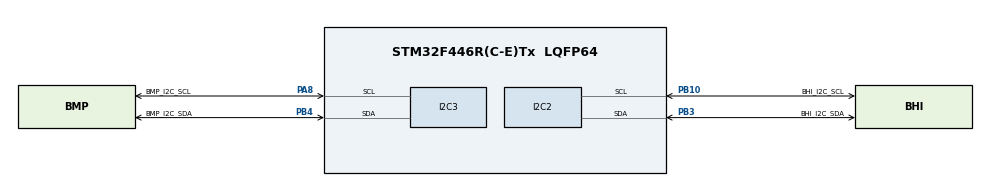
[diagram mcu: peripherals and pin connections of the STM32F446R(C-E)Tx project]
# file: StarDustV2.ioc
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FREERTOS.Tasks01=defaultTask,0,128,StartDefaultTask,Default,NULL,Dynamic,NULL,NULL;StateKontrol,-3,128,StateKontrolF,Default,NULL,Dynamic,NULL,NULL;veri,-3,128,veriF,Default,NULL,Dynamic,NULL,NULL;hataD,-3,128,hataDF,Default,NULL,Dynamic,NULL,NULL;flasMemo,-3,128,flasMemoF,Default,NULL,Dynamic,NULL,NULL
Mcu.Family=STM32F4
Mcu.Name=STM32F446R(C-E)Tx
Mcu.Package=LQFP64
NVIC.PriorityGroup=NVIC_PRIORITYGROUP_4
PA8.GPIO_Label=BMP_I2C_SCL
PA8.Mode=I2C
PA8.Signal=I2C3_SCL
PB10.GPIO_Label=BHI_I2C_SCL
PB10.Mode=I2C
PB10.Signal=I2C2_SCL
PB3.GPIO_Label=BHI_I2C_SDA
PB3.Mode=I2C
PB3.Signal=I2C2_SDA
PB4.GPIO_Label=BMP_I2C_SDA
PB4.Mode=I2C
PB4.Signal=I2C3_SDA
ProjectManager.HeapSize=0x200
ProjectManager.StackSize=0x400
ProjectManager.TargetToolchain=STM32CubeIDE
RCC.CortexFreq_Value=16000000
RCC.USBFreq_Value=96000000
RCC.VCOOutputFreq_Value=192000000
VP_FREERTOS_VS_CMSIS_V1.Mode=CMSIS_V1
board=custom

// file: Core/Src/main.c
/* USER CODE BEGIN Header */
/**
  ******************************************************************************
  * @file           : main.c
  * @brief          : Main program body
  ******************************************************************************
  * @attention
  *
  * Copyright (c) 2025 STMicroelectronics.
  * All rights reserved.
  *
  * This software is licensed under terms that can be found in the LICENSE file
  * in the root directory of this software component.
  * If no LICENSE file comes with this software, it is provided AS-IS.
  *
  ******************************************************************************
  */
/* USER CODE END Header */
#include "main.h"
#include "cmsis_os.h"
#include "i2c.h"
#include "gpio.h"

void SystemClock_Config(void);
void MX_FREERTOS_Init(void);

int main(void)
{

  /* MCU Configuration--------------------------------------------------------*/

  /* Reset of all peripherals, Initializes the Flash interface and the Systick. */
  HAL_Init();

  /* Configure the system clock */
  SystemClock_Config();

  /* Initialize all configured peripherals */
  MX_GPIO_Init();
  MX_I2C2_Init();
  MX_I2C3_Init();

  /* Call init function for freertos objects (in cmsis_os2.c) */
  MX_FREERTOS_Init();

  /* Start scheduler */
  osKernelStart();

  /* We should never get here as control is now taken by the scheduler */

  /* Infinite loop */
  while (1)
  {

  }
}

void SystemClock_Config(void)
{
  RCC_OscInitTypeDef RCC_OscInitStruct = {0};
  RCC_ClkInitTypeDef RCC_ClkInitStruct = {0};

  /** Configure the main internal regulator output voltage
  */
  __HAL_RCC_PWR_CLK_ENABLE();
  __HAL_PWR_VOLTAGESCALING_CONFIG(PWR_REGULATOR_VOLTAGE_SCALE3);

  /** Initializes the RCC Oscillators according to the specified parameters
  * in the RCC_OscInitTypeDef structure.
  */
  RCC_OscInitStruct.OscillatorType = RCC_OSCILLATORTYPE_HSI;
  RCC_OscInitStruct.HSIState = RCC_HSI_ON;
  RCC_OscInitStruct.HSICalibrationValue = RCC_HSICALIBRATION_DEFAULT;
  RCC_OscInitStruct.PLL.PLLState = RCC_PLL_NONE;
  if (HAL_RCC_OscConfig(&RCC_OscInitStruct) != HAL_OK)
  {
    Error_Handler();
  }

  /** Initializes the CPU, AHB and APB buses clocks
  */
  RCC_ClkInitStruct.ClockType = RCC_CLOCKTYPE_HCLK|RCC_CLOCKTYPE_SYSCLK
                              |RCC_CLOCKTYPE_PCLK1|RCC_CLOCKTYPE_PCLK2;
  RCC_ClkInitStruct.SYSCLKSource = RCC_SYSCLKSOURCE_HSI;
  RCC_ClkInitStruct.AHBCLKDivider = RCC_SYSCLK_DIV1;
  RCC_ClkInitStruct.APB1CLKDivider = RCC_HCLK_DIV1;
  RCC_ClkInitStruct.APB2CLKDivider = RCC_HCLK_DIV1;

  if (HAL_RCC_ClockConfig(&RCC_ClkInitStruct, FLASH_LATENCY_0) != HAL_OK)
  {
    Error_Handler();
  }
}

void Error_Handler(void)
{
  __disable_irq();
  while (1)
  {
  }
}

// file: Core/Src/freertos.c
/* USER CODE BEGIN Header */
/**
  ******************************************************************************
  * File Name          : freertos.c
  * Description        : Code for freertos applications
  ******************************************************************************
  * @attention
  *
  * Copyright (c) 2025 STMicroelectronics.
  * All rights reserved.
  *
  * This software is licensed under terms that can be found in the LICENSE file
  * in the root directory of this software component.
  * If no LICENSE file comes with this software, it is provided AS-IS.
  *
  ******************************************************************************
  */
/* USER CODE END Header */

#include "FreeRTOS.h"
#include "task.h"
#include "main.h"
#include "cmsis_os.h"
#include "stdio.h"

/* USER CODE BEGIN Includes */

    struct state
    {
      float ivme;
      int durum;
      float presure;
      float irtifa;

    };
    struct state state0;
    struct state state1;
    struct state state2;
    struct state state3;
    struct state state4;
    struct state state5;
    struct state state6;

/* USER CODE END Includes */

osThreadId defaultTaskHandle;
osThreadId StateKontrolHandle;
osThreadId veriHandle;
osThreadId hataDHandle;
osThreadId flasMemoHandle;

void StartDefaultTask(void const * argument);
void StateKontrolF(void const * argument);
void veriF(void const * argument);
void hataDF(void const * argument);
void flasMemoF(void const * argument);

void MX_FREERTOS_Init(void); /* (MISRA C 2004 rule 8.1) */

/* GetIdleTaskMemory prototype (linked to static allocation support) */
void vApplicationGetIdleTaskMemory( StaticTask_t **ppxIdleTaskTCBBuffer, StackType_t **ppxIdleTaskStackBuffer, uint32_t *pulIdleTaskStackSize );

/* USER CODE BEGIN GET_IDLE_TASK_MEMORY */
static StaticTask_t xIdleTaskTCBBuffer;
static StackType_t xIdleStack[configMINIMAL_STACK_SIZE];

void vApplicationGetIdleTaskMemory( StaticTask_t **ppxIdleTaskTCBBuffer, StackType_t **ppxIdleTaskStackBuffer, uint32_t *pulIdleTaskStackSize )
{
  *ppxIdleTaskTCBBuffer = &xIdleTaskTCBBuffer;
  *ppxIdleTaskStackBuffer = &xIdleStack[0];
  *pulIdleTaskStackSize = configMINIMAL_STACK_SIZE;
  /* place for user code */
}
/* USER CODE END GET_IDLE_TASK_MEMORY */

void MX_FREERTOS_Init(void) {

  /* Create the thread(s) */
  /* definition and creation of defaultTask */
  osThreadDef(defaultTask, StartDefaultTask, osPriorityNormal, 0, 128);
  defaultTaskHandle = osThreadCreate(osThread(defaultTask), NULL);

  /* definition and creation of StateKontrol */
  osThreadDef(StateKontrol, StateKontrolF, osPriorityIdle, 0, 128);
  StateKontrolHandle = osThreadCreate(osThread(StateKontrol), NULL);

  /* definition and creation of veri */
  osThreadDef(veri, veriF, osPriorityIdle, 0, 128);
  veriHandle = osThreadCreate(osThread(veri), NULL);

  /* definition and creation of hataD */
  osThreadDef(hataD, hataDF, osPriorityIdle, 0, 128);
  hataDHandle = osThreadCreate(osThread(hataD), NULL);

  /* definition and creation of flasMemo */
  osThreadDef(flasMemo, flasMemoF, osPriorityIdle, 0, 128);
  flasMemoHandle = osThreadCreate(osThread(flasMemo), NULL);

}

void StartDefaultTask(void const * argument)
{
  for(;;)
  {
    osDelay(1);
  }
}

void StateKontrolF(void const * argument)
{
  /* USER CODE BEGIN StateKontrolF */
  /* Infinite loop */
  for(;;)
  {

    state0.durum=0;

    if(state1.ivme >= 4.5 ) {
        state0.durum = 1;

    }

    if (state1.durum==1){
      if(state2.ivme >= 0 ){
        state2.durum=1;
      }
    }

    osDelay(1);
  }
  /* USER CODE END StateKontrolF */
}

void veriF(void const * argument)
{
  for(;;)
  {
    osDelay(1);
  }
}

void hataDF(void const * argument)
{
  for(;;)
  {
    osDelay(1);
  }
}

void flasMemoF(void const * argument)
{
  for(;;)
  {
    osDelay(1);
  }
}
